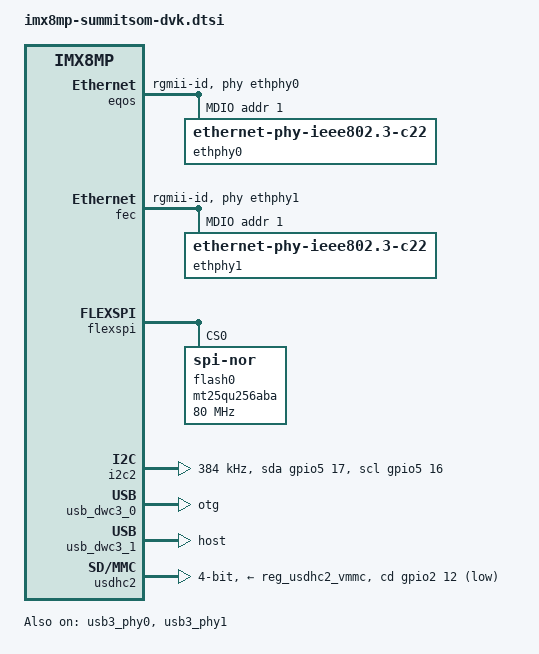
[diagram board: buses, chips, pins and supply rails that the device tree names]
// SPDX-License-Identifier: (GPL-2.0-or-later OR MIT)
/*
 * Copyright 2021 Laird Connectivity
 */

#include "imx8mp-summitsom.dtsi"

#include <dt-bindings/net/ti-dp83867.h>

&eqos {
	pinctrl-names = "default";
	pinctrl-0 = <&pinctrl_eqos &pinctrl_eqos_phy>;
	phy-mode = "rgmii-id";
	phy-handle = <&ethphy0>;
	status = "okay";

	mdio {
		compatible = "snps,dwmac-mdio";
		#address-cells = <1>;
		#size-cells = <0>;

		ethphy0: ethernet-phy@1 {
			compatible = "ethernet-phy-ieee802.3-c22";
			reg = <1>;

			ti,rx-internal-delay = <DP83867_RGMIIDCTL_2_00_NS>;
			ti,tx-internal-delay = <DP83867_RGMIIDCTL_2_00_NS>;
			ti,fifo-depth = <DP83867_PHYCR_FIFO_DEPTH_4_B_NIB>;
		};
	};
};

&fec {
	pinctrl-names = "default";
	pinctrl-0 = <&pinctrl_fec &pinctrl_fec_phy>;
	phy-mode = "rgmii-id";
	phy-handle = <&ethphy1>;
	fsl,magic-packet;
	status = "okay";

	mdio {
		#address-cells = <1>;
		#size-cells = <0>;

		ethphy1: ethernet-phy@1 {
			compatible = "ethernet-phy-ieee802.3-c22";
			reg = <1>;

			ti,rx-internal-delay = <DP83867_RGMIIDCTL_2_00_NS>;
			ti,tx-internal-delay = <DP83867_RGMIIDCTL_2_00_NS>;
			ti,fifo-depth = <DP83867_PHYCR_FIFO_DEPTH_4_B_NIB>;
		};
	};
};

&flexspi {
	pinctrl-names = "default";
	pinctrl-0 = <&pinctrl_flexspi0>;
	status = "okay";

	flash0: mt25qu256aba@0 {
		reg = <0>;
		#address-cells = <1>;
		#size-cells = <1>;
		compatible = "jedec,spi-nor";
		spi-max-frequency = <80000000>;
		spi-tx-bus-width = <4>;
		spi-rx-bus-width = <4>;
	};
};

&i2c2 {
	clock-frequency = <384000>;
	pinctrl-names = "default", "gpio";
	pinctrl-0 = <&pinctrl_i2c2>;
	pinctrl-1 = <&pinctrl_i2c2_gpio>;
	scl-gpios = <&gpio5 16 GPIO_ACTIVE_HIGH>;
	sda-gpios = <&gpio5 17 GPIO_ACTIVE_HIGH>;
	status = "okay";
};

&usb3_phy0 {
	status = "okay";
};

&usb_dwc3_0 {
	dr_mode = "otg";
	hnp-disable;
	srp-disable;
	adp-disable;
	usb-role-switch;
	status = "okay";
};

&usb3_phy1 {
	status = "okay";
};

&usb_dwc3_1 {
	dr_mode = "host";
	status = "okay";
};

&usdhc2 {
	pinctrl-names = "default", "state_100mhz", "state_200mhz";
	pinctrl-0 = <&pinctrl_usdhc2>, <&pinctrl_usdhc2_gpio>;
	pinctrl-1 = <&pinctrl_usdhc2_100mhz>, <&pinctrl_usdhc2_gpio>;
	pinctrl-2 = <&pinctrl_usdhc2_200mhz>, <&pinctrl_usdhc2_gpio>;
	cd-gpios = <&gpio2 12 GPIO_ACTIVE_LOW>;
	vmmc-supply = <&reg_usdhc2_vmmc>;
	bus-width = <4>;
	status = "okay";
};

&iomuxc {
	pinctrl-names = "default";

	pinctrl_eqos: eqosgrp {
		fsl,pins = <
			MX8MP_IOMUXC_ENET_MDC__ENET_QOS_MDC	0x2
			MX8MP_IOMUXC_ENET_MDIO__ENET_QOS_MDIO	0x2
			MX8MP_IOMUXC_ENET_RD0__ENET_QOS_RGMII_RD0	0x90
			MX8MP_IOMUXC_ENET_RD1__ENET_QOS_RGMII_RD1	0x90
			MX8MP_IOMUXC_ENET_RD2__ENET_QOS_RGMII_RD2	0x90
			MX8MP_IOMUXC_ENET_RD3__ENET_QOS_RGMII_RD3	0x90
			MX8MP_IOMUXC_ENET_RXC__CCM_ENET_QOS_CLOCK_GENERATE_RX_CLK	0x90
			MX8MP_IOMUXC_ENET_RX_CTL__ENET_QOS_RGMII_RX_CTL	0x90
			MX8MP_IOMUXC_ENET_TD0__ENET_QOS_RGMII_TD0		0x16
			MX8MP_IOMUXC_ENET_TD1__ENET_QOS_RGMII_TD1		0x16
			MX8MP_IOMUXC_ENET_TD2__ENET_QOS_RGMII_TD2		0x16
			MX8MP_IOMUXC_ENET_TD3__ENET_QOS_RGMII_TD3		0x16
			MX8MP_IOMUXC_ENET_TX_CTL__ENET_QOS_RGMII_TX_CTL	0x16
			MX8MP_IOMUXC_ENET_TXC__CCM_ENET_QOS_CLOCK_GENERATE_TX_CLK	0x16
		>;
	};

	pinctrl_eqos_phy: eqospphygrp {
		fsl,pins = <
			MX8MP_IOMUXC_SAI2_RXC__GPIO4_IO22		0x00000146
			MX8MP_IOMUXC_SAI2_RXFS__GPIO4_IO21		0x000001C6
		>;
	};

	pinctrl_fec: fecgrp {
		fsl,pins = <
			MX8MP_IOMUXC_SAI1_RXD2__ENET1_MDC		0x2
			MX8MP_IOMUXC_SAI1_RXD3__ENET1_MDIO		0x2
			MX8MP_IOMUXC_SAI1_RXD4__ENET1_RGMII_RD0		0x90
			MX8MP_IOMUXC_SAI1_RXD5__ENET1_RGMII_RD1		0x90
			MX8MP_IOMUXC_SAI1_RXD6__ENET1_RGMII_RD2		0x90
			MX8MP_IOMUXC_SAI1_RXD7__ENET1_RGMII_RD3		0x90
			MX8MP_IOMUXC_SAI1_TXC__ENET1_RGMII_RXC		0x90
			MX8MP_IOMUXC_SAI1_TXFS__ENET1_RGMII_RX_CTL	0x90
			MX8MP_IOMUXC_SAI1_TXD0__ENET1_RGMII_TD0		0x16
			MX8MP_IOMUXC_SAI1_TXD1__ENET1_RGMII_TD1		0x16
			MX8MP_IOMUXC_SAI1_TXD2__ENET1_RGMII_TD2		0x16
			MX8MP_IOMUXC_SAI1_TXD3__ENET1_RGMII_TD3		0x16
			MX8MP_IOMUXC_SAI1_TXD4__ENET1_RGMII_TX_CTL	0x16
			MX8MP_IOMUXC_SAI1_TXD5__ENET1_RGMII_TXC		0x16
		>;
	};

	pinctrl_fec_phy: fecphygrp {
		fsl,pins = <
			MX8MP_IOMUXC_SAI1_RXD0__GPIO4_IO02		0x00000146
			MX8MP_IOMUXC_SAI1_RXD1__GPIO4_IO03		0x000001C6
		>;
	};

	pinctrl_flexspi0: flexspi0grp {
		fsl,pins = <
			MX8MP_IOMUXC_NAND_ALE__FLEXSPI_A_SCLK		0x1c2
			MX8MP_IOMUXC_NAND_CE0_B__FLEXSPI_A_SS0_B	0x82
			MX8MP_IOMUXC_NAND_DATA00__FLEXSPI_A_DATA00	0x82
			MX8MP_IOMUXC_NAND_DATA01__FLEXSPI_A_DATA01	0x82
			MX8MP_IOMUXC_NAND_DATA02__FLEXSPI_A_DATA02	0x82
			MX8MP_IOMUXC_NAND_DATA03__FLEXSPI_A_DATA03	0x82
		>;
	};

	pinctrl_i2c2: i2c2grp {
		fsl,pins = <
			MX8MP_IOMUXC_I2C2_SCL__I2C2_SCL			0x400001c2
			MX8MP_IOMUXC_I2C2_SDA__I2C2_SDA			0x400001c2
		>;
	};

	pinctrl_i2c3: i2c3grp {
		fsl,pins = <
			MX8MP_IOMUXC_I2C3_SCL__I2C3_SCL			0x400001c2
			MX8MP_IOMUXC_I2C3_SDA__I2C3_SDA			0x400001c2
		>;
	};

	pinctrl_i2c2_gpio: i2c2grp-gpio {
		fsl,pins = <
			MX8MP_IOMUXC_I2C2_SCL__GPIO5_IO16        	0x1c2
			MX8MP_IOMUXC_I2C2_SDA__GPIO5_IO17        	0x1c2
		>;
	};

	pinctrl_i2c3_gpio: i2c3grp-gpio {
		fsl,pins = <
			MX8MP_IOMUXC_I2C3_SCL__GPIO5_IO18        	0x1c2
			MX8MP_IOMUXC_I2C3_SDA__GPIO5_IO19        	0x1c2
		>;
	};

	pinctrl_typec: typec1grp {
		fsl,pins = <
			MX8MP_IOMUXC_SAI1_TXD6__GPIO4_IO18	0x1c4
		>;
	};

	pinctrl_typec_mux: typec1muxgrp {
		fsl,pins = <
			MX8MP_IOMUXC_SAI1_MCLK__GPIO4_IO20	0x16
		>;
	};

	pinctrl_usdhc2: usdhc2grp {
		fsl,pins = <
			MX8MP_IOMUXC_SD2_CLK__USDHC2_CLK	0x190
			MX8MP_IOMUXC_SD2_CMD__USDHC2_CMD	0x1d0
			MX8MP_IOMUXC_SD2_DATA0__USDHC2_DATA0	0x1d0
			MX8MP_IOMUXC_SD2_DATA1__USDHC2_DATA1	0x1d0
			MX8MP_IOMUXC_SD2_DATA2__USDHC2_DATA2	0x1d0
			MX8MP_IOMUXC_SD2_DATA3__USDHC2_DATA3	0x1d0
			MX8MP_IOMUXC_GPIO1_IO04__USDHC2_VSELECT	0xc0
		>;
	};

	pinctrl_usdhc2_100mhz: usdhc2-100mhzgrp {
		fsl,pins = <
			MX8MP_IOMUXC_SD2_CLK__USDHC2_CLK	0x194
			MX8MP_IOMUXC_SD2_CMD__USDHC2_CMD	0x1d4
			MX8MP_IOMUXC_SD2_DATA0__USDHC2_DATA0	0x1d4
			MX8MP_IOMUXC_SD2_DATA1__USDHC2_DATA1	0x1d4
			MX8MP_IOMUXC_SD2_DATA2__USDHC2_DATA2	0x1d4
			MX8MP_IOMUXC_SD2_DATA3__USDHC2_DATA3	0x1d4
			MX8MP_IOMUXC_GPIO1_IO04__USDHC2_VSELECT 0xc0
		>;
	};

	pinctrl_usdhc2_200mhz: usdhc2-200mhzgrp {
		fsl,pins = <
			MX8MP_IOMUXC_SD2_CLK__USDHC2_CLK	0x196
			MX8MP_IOMUXC_SD2_CMD__USDHC2_CMD	0x1d6
			MX8MP_IOMUXC_SD2_DATA0__USDHC2_DATA0	0x1d6
			MX8MP_IOMUXC_SD2_DATA1__USDHC2_DATA1	0x1d6
			MX8MP_IOMUXC_SD2_DATA2__USDHC2_DATA2	0x1d6
			MX8MP_IOMUXC_SD2_DATA3__USDHC2_DATA3	0x1d6
			MX8MP_IOMUXC_GPIO1_IO04__USDHC2_VSELECT 0xc0
		>;
	};

	pinctrl_usdhc2_gpio: usdhc2gpiogrp {
		fsl,pins = <
			MX8MP_IOMUXC_SD2_CD_B__GPIO2_IO12	0x1c4
		>;
	};
};
